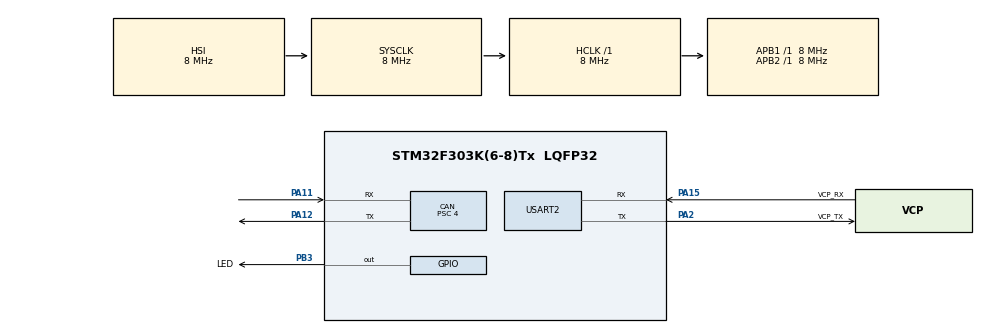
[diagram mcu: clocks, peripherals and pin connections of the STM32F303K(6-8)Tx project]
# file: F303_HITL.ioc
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CAN.BS1=CAN_BS1_2TQ
CAN.CalculateBaudRate=500000
CAN.CalculateTimeBit=2000
CAN.CalculateTimeQuantum=500.0
CAN.Prescaler=4
Mcu.Family=STM32F3
Mcu.Name=STM32F303K(6-8)Tx
Mcu.Package=LQFP32
NVIC.CAN_RX0_IRQn=true\:0\:0\:false\:false\:true\:true\:true\:true
NVIC.PriorityGroup=NVIC_PRIORITYGROUP_4
NVIC.USART2_IRQn=true\:0\:0\:false\:false\:true\:true\:true\:true
PA11.GPIO_PuPd=GPIO_PULLUP
PA11.Mode=CAN_Activate
PA11.Signal=CAN_RX
PA12.Mode=CAN_Activate
PA12.Signal=CAN_TX
PA13.GPIO_Label=SWDIO
PA13.Mode=Serial_Wire
PA13.Signal=SYS_JTMS-SWDIO
PA14.GPIO_Label=SWCLK
PA14.Mode=Serial_Wire
PA14.Signal=SYS_JTCK-SWCLK
PA15.GPIO_Label=VCP_RX
PA15.Mode=Asynchronous
PA15.Signal=USART2_RX
PA2.GPIO_Label=VCP_TX
PA2.Mode=Asynchronous
PA2.Signal=USART2_TX
PB3.GPIO_Label=LED
PB3.Signal=GPIO_Output
PF0\ /\ OSC_IN.GPIO_Label=MCO
PF0\ /\ OSC_IN.Mode=HSE-External-Clock-Source
PF0\ /\ OSC_IN.Signal=RCC_OSC_IN
ProjectManager.HeapSize=0x200
ProjectManager.StackSize=0x400
ProjectManager.TargetToolchain=STM32CubeIDE
RCC.AHBFreq_Value=8000000
RCC.APB1Freq_Value=8000000
RCC.APB2Freq_Value=8000000
RCC.CortexFreq_Value=8000000
RCC.HSE_VALUE=8000000
RCC.HSI_VALUE=8000000
RCC.SYSCLKFreq_VALUE=8000000
USART2.VirtualMode-Asynchronous=VM_ASYNC
board=NUCLEO-F303K8

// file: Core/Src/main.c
/* USER CODE BEGIN Header */
/**
  ******************************************************************************
  * @file           : main.c
  * @brief          : Main program body
  ******************************************************************************
  * @attention
  *
  * Copyright (c) 2024 STMicroelectronics.
  * All rights reserved.
  *
  * This software is licensed under terms that can be found in the LICENSE file
  * in the root directory of this software component.
  * If no LICENSE file comes with this software, it is provided AS-IS.
  *
  ******************************************************************************
  */
/* USER CODE END Header */
#include "main.h"

/* USER CODE BEGIN Includes */
#include "string.h"
/* USER CODE END Includes */

CAN_HandleTypeDef hcan;

UART_HandleTypeDef huart2;

void SystemClock_Config(void);
static void MX_GPIO_Init(void);
static void MX_USART2_UART_Init(void);
static void MX_CAN_Init(void);
void Parse_Config_Command();

/* USER CODE BEGIN 0 */
CAN_RxHeaderTypeDef RxHeader;
uint8_t RxData[8];
HAL_StatusTypeDef send_can_msg(uint16_t destID,const uint8_t *data, size_t len);
void HAL_CAN_RxFifo0MsgPendingCallback(CAN_HandleTypeDef *hcan);
uint8_t urx_buf[10];
/* USER CODE END 0 */

int main(void)
{

  /* MCU Configuration--------------------------------------------------------*/

  /* Reset of all peripherals, Initializes the Flash interface and the Systick. */
  HAL_Init();

  /* Configure the system clock */
  SystemClock_Config();

  /* Initialize all configured peripherals */
  MX_GPIO_Init();
  MX_USART2_UART_Init();
  MX_CAN_Init();
  /* USER CODE BEGIN 2 */
  if (HAL_CAN_ActivateNotification(&hcan, CAN_IT_RX_FIFO0_MSG_PENDING) != HAL_OK)
    	  {
    		  Error_Handler();
    	  }
  CAN_FilterTypeDef canfilterconfig;

  canfilterconfig.FilterActivation = CAN_FILTER_ENABLE;
//  canfilterconfig.FilterBank = 18;  // which filter bank to use from the assigned ones
  canfilterconfig.FilterBank = 0;
  canfilterconfig.FilterFIFOAssignment = CAN_FILTER_FIFO0;
//  canfilterconfig.FilterIdHigh = 0x446<<5;
//  canfilterconfig.FilterIdLow = 0;
//  canfilterconfig.FilterMaskIdHigh = 0x446<<5;
    canfilterconfig.FilterMaskIdHigh = 0x0000;
  canfilterconfig.FilterMaskIdLow = 0x0000;
  canfilterconfig.FilterMode = CAN_FILTERMODE_IDMASK;
  canfilterconfig.FilterScale = CAN_FILTERSCALE_32BIT;
//  canfilterconfig.SlaveStartFilterBank = 20;  // how many filters to assign to the CAN1 (master can)

  HAL_CAN_ConfigFilter(&hcan, &canfilterconfig);
  HAL_CAN_Start(&hcan);
  HAL_UART_Receive_IT(&huart2, urx_buf, 10);
  /* USER CODE END 2 */

  /* Infinite loop */
  while (1)
  {

  }
}

void SystemClock_Config(void)
{
  RCC_OscInitTypeDef RCC_OscInitStruct = {0};
  RCC_ClkInitTypeDef RCC_ClkInitStruct = {0};

  /** Initializes the RCC Oscillators according to the specified parameters
  * in the RCC_OscInitTypeDef structure.
  */
  RCC_OscInitStruct.OscillatorType = RCC_OSCILLATORTYPE_HSI;
  RCC_OscInitStruct.HSIState = RCC_HSI_ON;
  RCC_OscInitStruct.HSICalibrationValue = RCC_HSICALIBRATION_DEFAULT;
  RCC_OscInitStruct.PLL.PLLState = RCC_PLL_NONE;
  if (HAL_RCC_OscConfig(&RCC_OscInitStruct) != HAL_OK)
  {
    Error_Handler();
  }

  /** Initializes the CPU, AHB and APB buses clocks
  */
  RCC_ClkInitStruct.ClockType = RCC_CLOCKTYPE_HCLK|RCC_CLOCKTYPE_SYSCLK
                              |RCC_CLOCKTYPE_PCLK1|RCC_CLOCKTYPE_PCLK2;
  RCC_ClkInitStruct.SYSCLKSource = RCC_SYSCLKSOURCE_HSI;
  RCC_ClkInitStruct.AHBCLKDivider = RCC_SYSCLK_DIV1;
  RCC_ClkInitStruct.APB1CLKDivider = RCC_HCLK_DIV1;
  RCC_ClkInitStruct.APB2CLKDivider = RCC_HCLK_DIV1;

  if (HAL_RCC_ClockConfig(&RCC_ClkInitStruct, FLASH_LATENCY_0) != HAL_OK)
  {
    Error_Handler();
  }
}

static void MX_CAN_Init(void)
{

  hcan.Instance = CAN;
  hcan.Init.Prescaler = 4;
  hcan.Init.Mode = CAN_MODE_NORMAL;
  hcan.Init.SyncJumpWidth = CAN_SJW_1TQ;
  hcan.Init.TimeSeg1 = CAN_BS1_2TQ;
  hcan.Init.TimeSeg2 = CAN_BS2_1TQ;
  hcan.Init.TimeTriggeredMode = DISABLE;
  hcan.Init.AutoBusOff = DISABLE;
  hcan.Init.AutoWakeUp = DISABLE;
  hcan.Init.AutoRetransmission = DISABLE;
  hcan.Init.ReceiveFifoLocked = DISABLE;
  hcan.Init.TransmitFifoPriority = DISABLE;
  if (HAL_CAN_Init(&hcan) != HAL_OK)
  {
    Error_Handler();
  }

}

static void MX_USART2_UART_Init(void)
{

  huart2.Instance = USART2;
  huart2.Init.BaudRate = 38400;
  huart2.Init.WordLength = UART_WORDLENGTH_8B;
  huart2.Init.StopBits = UART_STOPBITS_1;
  huart2.Init.Parity = UART_PARITY_NONE;
  huart2.Init.Mode = UART_MODE_TX_RX;
  huart2.Init.HwFlowCtl = UART_HWCONTROL_NONE;
  huart2.Init.OverSampling = UART_OVERSAMPLING_16;
  huart2.Init.OneBitSampling = UART_ONE_BIT_SAMPLE_DISABLE;
  huart2.AdvancedInit.AdvFeatureInit = UART_ADVFEATURE_NO_INIT;
  if (HAL_UART_Init(&huart2) != HAL_OK)
  {
    Error_Handler();
  }

}

static void MX_GPIO_Init(void)
{
  GPIO_InitTypeDef GPIO_InitStruct = {0};

  /* GPIO Ports Clock Enable */
  __HAL_RCC_GPIOF_CLK_ENABLE();
  __HAL_RCC_GPIOA_CLK_ENABLE();
  __HAL_RCC_GPIOB_CLK_ENABLE();

  /*Configure GPIO pin Output Level */
  HAL_GPIO_WritePin(LED_GPIO_Port, LED_Pin, GPIO_PIN_RESET);

  /*Configure GPIO pin : LED_Pin */
  GPIO_InitStruct.Pin = LED_Pin;
  GPIO_InitStruct.Mode = GPIO_MODE_OUTPUT_PP;
  GPIO_InitStruct.Pull = GPIO_NOPULL;
  GPIO_InitStruct.Speed = GPIO_SPEED_FREQ_LOW;
  HAL_GPIO_Init(LED_GPIO_Port, &GPIO_InitStruct);

}

/* USER CODE BEGIN 4 */
void HAL_CAN_RxFifo0MsgPendingCallback(CAN_HandleTypeDef *hcan)
{
  HAL_GPIO_TogglePin(LED_GPIO_Port, LED_Pin);
  if (HAL_CAN_GetRxMessage(hcan, CAN_RX_FIFO0, &RxHeader, RxData) != HAL_OK)
  {
    Error_Handler();
  }
  uint8_t relay_buf[10];
  uint16_t rx_id = RxHeader.StdId;
  relay_buf[0] = rx_id >> 8;
  relay_buf[1] = rx_id & 0xFF;
  memcpy(&relay_buf[2], RxData, 8);
  HAL_UART_Transmit(&huart2, relay_buf, 10, 10);
}

void Parse_Config_Command() {
  if (urx_buf[9] == 0x01) {
	  HAL_GPIO_TogglePin(LED_GPIO_Port, LED_Pin);
	  return;
  }
}

HAL_StatusTypeDef send_can_msg(uint16_t destID, const uint8_t *data, size_t len) {
    CAN_TxHeaderTypeDef header;
    header.IDE = CAN_ID_STD;
    header.StdId = destID;
    header.RTR = CAN_RTR_DATA;
    header.TransmitGlobalTime = DISABLE;
    header.DLC = len;

    uint32_t mailbox;

    HAL_StatusTypeDef status = HAL_CAN_AddTxMessage(&hcan, &header, data, &mailbox);
    if (status != HAL_OK) {

    }

    return status;
}

void HAL_UART_RxCpltCallback(UART_HandleTypeDef *huart)
{
  uint16_t destID = (urx_buf[0] << 8) | (urx_buf[1]);
  if (destID == 0x0000) {
	  Parse_Config_Command();
  }
  else {
	  uint8_t data[8];
	  memcpy(data, &urx_buf[2], 8);
	  send_can_msg(destID, data, 8);
  }
  HAL_UART_Receive_IT(&huart2, urx_buf, 10); //You need to toggle a breakpoint on this line!
}
/* USER CODE END 4 */

void Error_Handler(void)
{
  __disable_irq();
  while (1)
  {
  }
}
